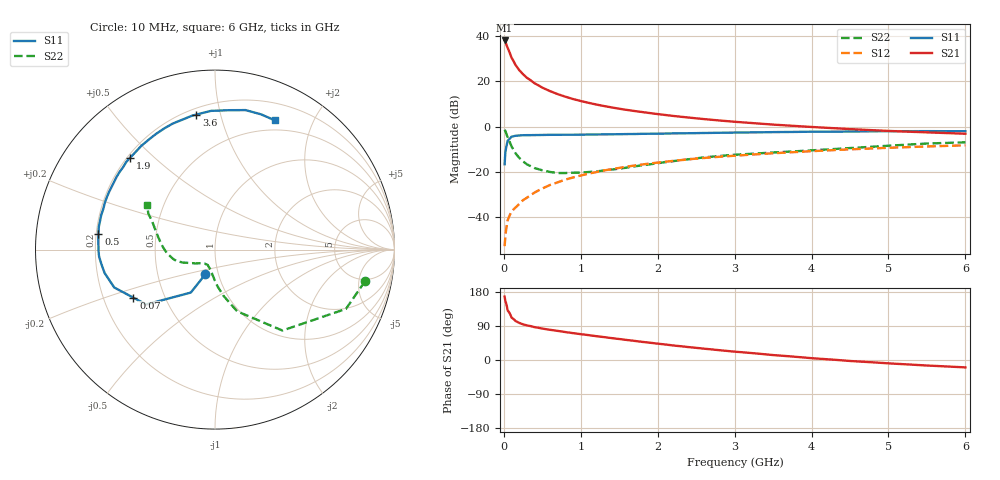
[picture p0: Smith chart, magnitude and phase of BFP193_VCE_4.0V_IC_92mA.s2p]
! Infineon Technologies  Discrete & RF Semiconductors
! BFP193
! VCE =  4.0 V,  IC =  92 mA
! Common Emitter S-Parameters:  Jan 2017
# GHz  S  MA  R  50
!  f  S11  S21  S12  S22
! GHz  MAG  ANG  MAG  ANG  MAG  ANG  MAG  ANG
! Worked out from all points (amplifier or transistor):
!   77 points, 10 MHz to 6 GHz, reference 50 ohm
!   highest |S21| = 38.0 dB at 10 MHz (marker M1)
!   |S21| within 3 dB of that: start of sweep to 46.14 MHz
!   unconditionally stable (mu >= 1): 287.9 MHz to 2.52 GHz
!   at 130 MHz: K = 0.78, MSG = 32.5 dB, |S12| = -36.4 dB
!   at 2.2 GHz: K = 1.02, MAG = 9.2 dB, |S12| = -15.1 dB
!   at 6 GHz: K = 0.94, MSG = 2.6 dB, |S12| = -8.2 dB
!   S11 on the Smith chart (normalised r, x): 10 MHz: 0.87, -0.24; 70 MHz: 0.33, -0.24; 500 MHz: 0.21, +0.06; 1.9 GHz: 0.21, +0.42; 3.6 GHz: 0.24, +0.84; 6 GHz: 0.38, +1.49
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0.01  0.1475 -111.3  79.84 167.3  0.0023 80.3  0.8544 -11.9
0.02  0.2748 -119.4  75.56 155.7  0.0038 75.8  0.8008 -24.4
0.05  0.4907 -141.5  54.41 130.7  0.0086 62.2  0.5868 -50.2
0.07  0.5279 -149.5  45.44 125.3  0.0105 61.5  0.4917 -56.1
0.1  0.5999 -159.4  33.25 111.9  0.0133 60.8  0.3648 -70.3
0.15  0.6287 -168.0  23.22 103.2  0.0163 64.6  0.2602 -79.8
0.2  0.6383 -172.8  17.72 97.9  0.0196 67.8  0.2046 -86.1
0.25  0.647 -176.6  14.3 94.0  0.0239 67.9  0.1707 -90.5
0.3  0.6491 -179.4  11.97 91.3  0.027 70.3  0.1472 -94.4
0.4  0.6513 176.1  9.057 86.6  0.0351 71.8  0.1218 -100.6
0.5  0.6552 172.3  7.26 82.9  0.0431 71.8  0.1086 -106.0
0.7  0.6601 166.1  5.218 76.8  0.059 72.2  0.0947 -115.1
0.9  0.6623 160.0  4.067 70.9  0.0756 70.2  0.0961 -122.4
1.1  0.6693 154.4  3.355 65.7  0.0916 68.6  0.0996 -128.7
1.5  0.6817 143.6  2.485 55.4  0.1228 63.7  0.1181 -140.1
1.9  0.6971 132.9  1.991 45.6  0.1537 58.8  0.1474 -149.2
2.1  0.7034 127.9  1.807 40.9  0.168 56.0  0.1644 -153.0
3.1  0.7424 106.8  1.245 20.4  0.2341 42.9  0.245 -169.4
3.6  0.7595 97.9  1.083 11.5  0.264 37.0  0.2744 -177.9
4.1  0.7736 90.2  0.963 3.4  0.2928 30.8  0.3063 172.5
5.1  0.7949 76.4  0.792 -10.0  0.346 18.9  0.3877 155.4
6  0.7934 65.3  0.697 -19.5  0.3873 8.5  0.4507 146.8
